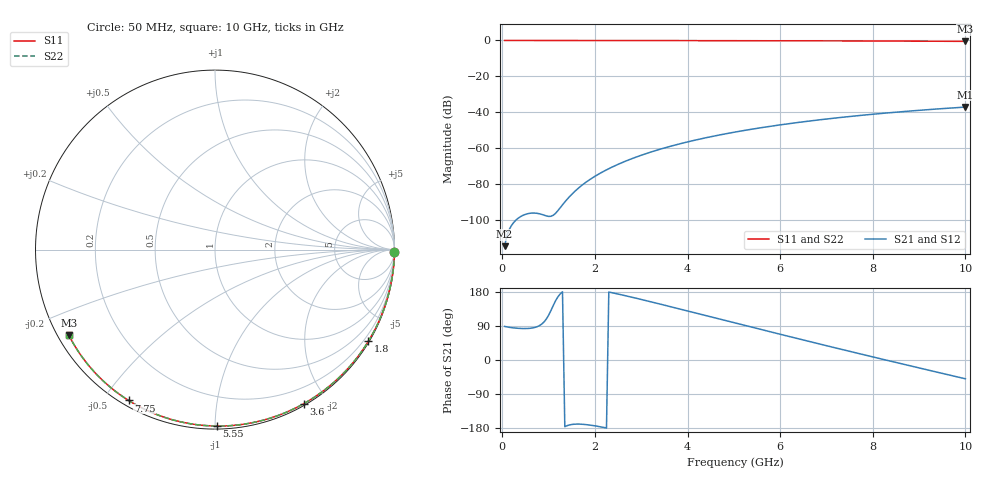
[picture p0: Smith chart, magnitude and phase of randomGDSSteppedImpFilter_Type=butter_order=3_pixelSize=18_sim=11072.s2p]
! freq	dB(S11)	phase(S11)	dB(S12)	phase(S12)
!  dB(S21)	phase(S21)	dB(S22)	phase(S22)
!S-par simulation data
#  GHz  S  DB  R 50
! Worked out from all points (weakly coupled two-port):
!   200 points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, 50 MHz to 10 GHz, reference 50 ohm
!   highest |S21| = -37.15 dB at 10 GHz (marker M1); lowest = -114.7 dB at 50 MHz (marker M2)
!   lowest |S11| = -0.5 dB at 10 GHz (marker M3), VSWR 34.47, Z = 1.56 - j13.5 ohm
!   |S11| at or under -10 dB: nowhere
!   |S22| runs from -0.5 to 0.0 dB; largest |S21 - S12| = 0
!   S11 on the Smith chart (normalised r, x): 50 MHz: open; 1.8 GHz: 0.03, -3.63; 3.6 GHz: 0.02, -1.73; 5.55 GHz: 0.02, -1.01; 7.75 GHz: 0.02, -0.58; 10 GHz: 0.03, -0.27
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0.05  -0.00 -0.9  -114.73 88.6  -114.73 88.6  -0.00 -0.9
0.45  -0.01 -7.8  -97.50 83.0  -97.50 83.0  -0.01 -7.8
0.9  -0.02 -15.6  -97.42 100.3  -97.42 100.3  -0.02 -15.6
1.3  -0.03 -22.4  -91.67 180.0  -91.67 180.0  -0.03 -22.4
1.75  -0.04 -30.0  -80.15 -169.8  -80.15 -169.8  -0.04 -30.0
1.8  -0.04 -30.8  -79.19 -170.4  -79.19 -170.4  -0.04 -30.8
1.95  -0.04 -33.3  -76.57 -172.8  -76.57 -172.8  -0.04 -33.3
2.1  -0.05 -35.8  -74.25 -175.8  -74.25 -175.8  -0.05 -35.8
2.3  -0.05 -39.1  -71.51 179.4  -71.51 179.4  -0.05 -39.1
2.5  -0.05 -42.4  -69.09 174.1  -69.09 174.1  -0.05 -42.4
2.9  -0.06 -48.9  -64.94 162.7  -64.94 162.7  -0.06 -48.9
3.4  -0.08 -56.9  -60.71 147.8  -60.71 147.8  -0.08 -56.9
3.6  -0.08 -60.0  -59.23 141.7  -59.23 141.7  -0.08 -60.0
4.3  -0.10 -70.9  -54.80 120.2  -54.80 120.2  -0.10 -70.9
5.05  -0.13 -82.1  -50.97 97.0  -50.97 97.0  -0.13 -82.1
5.55  -0.15 -89.4  -48.82 81.7  -48.82 81.7  -0.15 -89.4
6.1  -0.17 -97.2  -46.72 64.9  -46.72 64.9  -0.17 -97.2
6.7  -0.21 -105.6  -44.72 46.7  -44.72 46.7  -0.21 -105.6
7.75  -0.28 -119.8  -41.77 15.5  -41.77 15.5  -0.28 -119.8
8.35  -0.33 -127.8  -40.34 -2.1  -40.34 -2.1  -0.33 -127.8
9.2  -0.41 -139.1  -38.57 -26.7  -38.57 -26.7  -0.41 -139.1
10  -0.50 -149.7  -37.15 -49.6  -37.15 -49.6  -0.50 -149.7
